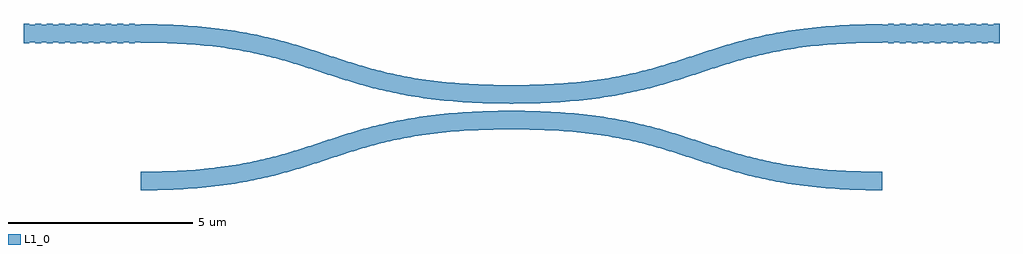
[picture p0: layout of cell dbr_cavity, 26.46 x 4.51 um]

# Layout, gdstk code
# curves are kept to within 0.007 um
from math import pi, radians
import gdstk
lib = gdstk.Library(unit=1e-6, precision=1e-09)
def R(c, l, rs):  # rectangles x0, y0, x1, y1
    for r in rs: c.add(gdstk.rectangle(r[:2], r[2:], *l))
def P(c, l, *ps):  # polygons
    for p in ps: c.add(gdstk.Polygon(p, *l))
L1_0 = (1, 0)

coupler_gap0p2_length0p1 = lib.new_cell('coupler_gap0p2_length0p1')
R(coupler_gap0p2_length0p1, L1_0, [(0,-0.25,0.1,0.25), (0,0.45,0.1,0.95)])
P(coupler_gap0p2_length0p1, L1_0, [(0,0.25),(-0.595,0.242),(-1.404,0.201),(-2.123,0.131),(-2.665,0.052),(-3.35,-0.083),(-3.967,-0.24),(-4.457,-0.386),(-5.927,-0.859),(-6.5,-1.017),(-7.033,-1.138),(-7.724,-1.256),(-8.392,-1.333),(-9.281,-1.388),(-10,-1.4),(-10,-1.9),(-9.405,-1.892),(-8.596,-1.851),(-7.877,-1.781),(-7.335,-1.702),(-6.65,-1.567),(-6.033,-1.41),(-5.543,-1.264),(-4.073,-0.791),(-3.5,-0.633),(-2.967,-0.512),(-2.276,-0.394),(-1.608,-0.317),(-0.719,-0.262),(0,-0.25)],
  [(0,0.45),(-0.595,0.458),(-1.404,0.499),(-2.123,0.569),(-2.665,0.648),(-3.35,0.783),(-3.967,0.94),(-4.457,1.086),(-5.927,1.559),(-6.5,1.717),(-7.033,1.838),(-7.724,1.956),(-8.392,2.033),(-9.281,2.088),(-10,2.1),(-10,2.6),(-9.405,2.592),(-8.596,2.551),(-7.877,2.481),(-7.335,2.402),(-6.65,2.267),(-6.033,2.11),(-5.543,1.964),(-4.073,1.491),(-3.5,1.333),(-2.967,1.212),(-2.276,1.094),(-1.608,1.017),(-0.719,0.962),(0,0.95)],
  [(0.1,0.45),(0.695,0.458),(1.504,0.499),(2.223,0.569),(2.765,0.648),(3.45,0.783),(4.067,0.94),(4.557,1.086),(6.027,1.559),(6.6,1.717),(7.133,1.838),(7.824,1.956),(8.492,2.033),(9.381,2.088),(10.1,2.1),(10.1,2.6),(9.505,2.592),(8.696,2.551),(7.977,2.481),(7.435,2.402),(6.75,2.267),(6.133,2.11),(5.643,1.964),(4.173,1.491),(3.6,1.333),(3.067,1.212),(2.376,1.094),(1.708,1.017),(0.819,0.962),(0.1,0.95)],
  [(0.1,0.25),(0.695,0.242),(1.504,0.201),(2.223,0.131),(2.765,0.052),(3.45,-0.083),(4.067,-0.24),(4.557,-0.386),(6.027,-0.859),(6.6,-1.017),(7.133,-1.138),(7.824,-1.256),(8.492,-1.333),(9.381,-1.388),(10.1,-1.4),(10.1,-1.9),(9.505,-1.892),(8.696,-1.851),(7.977,-1.781),(7.435,-1.702),(6.75,-1.567),(6.133,-1.41),(5.643,-1.264),(4.173,-0.791),(3.6,-0.633),(3.067,-0.512),(2.376,-0.394),(1.708,-0.317),(0.819,-0.262),(0.1,-0.25)])

straight_length0p159_wid = lib.new_cell('straight_length0p159_width0p476')
R(straight_length0p159_wid, L1_0, [(0,-0.238,0.159,0.238)])

c_straight_length0p159_wid = lib.new_cell('straight_length0p159_width0p524')
R(c_straight_length0p159_wid, L1_0, [(0,-0.262,0.159,0.262)])

dbr_cell = lib.new_cell('dbr_cell')
dbr_cell.add(gdstk.Reference(straight_length0p159_wid, (0,0)))
dbr_cell.add(gdstk.Reference(c_straight_length0p159_wid, (0.159,0)))

dbr = lib.new_cell('dbr')
r = gdstk.Reference(dbr_cell, (0,0)); r.repetition = gdstk.Repetition(10, 1, v1=(0.318,0), v2=(0,100)); dbr.add(r)

dbr_cavity = lib.new_cell('dbr_cavity')
dbr_cavity.add(gdstk.Reference(coupler_gap0p2_length0p1, (0,0)))
dbr_cavity.add(gdstk.Reference(dbr, (-10,2.35), rotation=pi))
dbr_cavity.add(gdstk.Reference(dbr, (10.1,2.35)))

lib.write_gds('dbr_cavity.gds')
